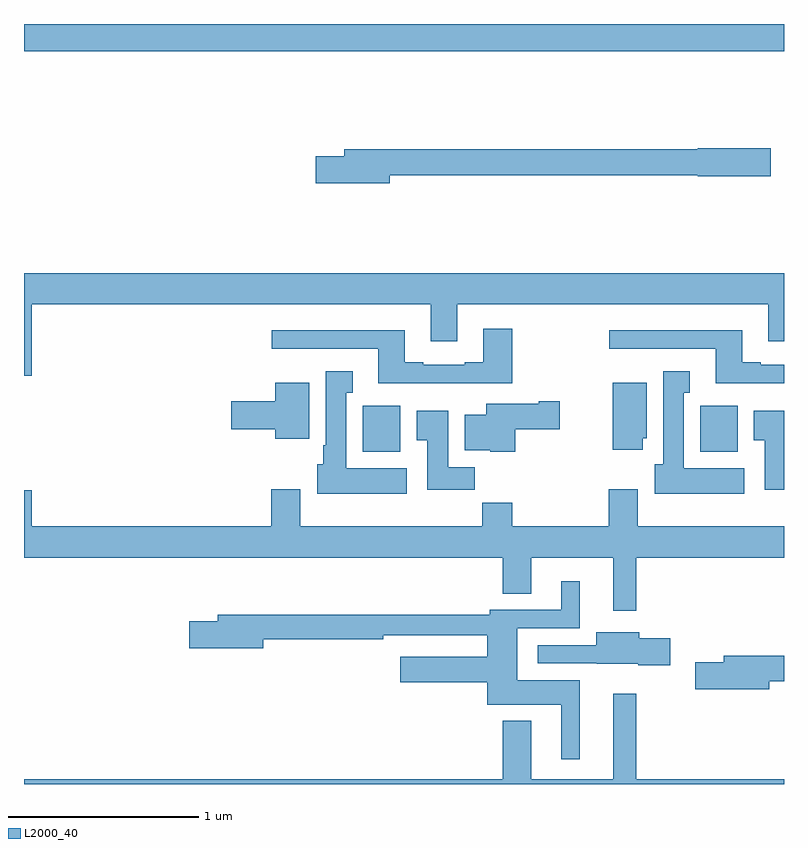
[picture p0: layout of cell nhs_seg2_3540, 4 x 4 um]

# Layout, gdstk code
import gdstk
lib = gdstk.Library(unit=1e-6, precision=1e-09)
def R(c, l, rs):  # rectangles x0, y0, x1, y1
    for r in rs: c.add(gdstk.rectangle(r[:2], r[2:], *l))
def P(c, l, *ps):  # polygons
    for p in ps: c.add(gdstk.Polygon(p, *l))
L2000_40 = (2000, 40)

nhs_seg2_3540 = lib.new_cell('nhs_seg2_3540')
R(nhs_seg2_3540, L2000_40, [(298.784,625.55,298.981,625.792), (300.56,625.55,300.757,625.792), (297,627.656,301,627.8)])
P(nhs_seg2_3540, L2000_40, [(298.924,627.004),(300.546,627.004),(300.546,626.999),(300.931,626.999),(300.931,627.146),(300.546,627.146),(300.546,627.14),(298.685,627.14),(298.685,627.104),(298.536,627.104),(298.536,626.962),(298.924,626.962)],
  [(297,625.95),(297.04,625.95),(297.04,626.324),(299.141,626.324),(299.141,626.13),(299.281,626.13),(299.281,626.324),(300.917,626.324),(300.917,626.13),(301,626.13),(301,626.488),(297,626.488)],
  [(299.57,626.197),(299.417,626.197),(299.417,626.02),(299.321,626.02),(299.321,626.007),(299.101,626.007),(299.101,626.02),(299.005,626.02),(299.005,626.188),(298.305,626.188),(298.305,626.091),(298.865,626.091),(298.865,625.91),(299.57,625.91)],
  [(301,626.007),(300.877,626.007),(300.877,626.02),(300.781,626.02),(300.781,626.188),(300.081,626.188),(300.081,626.091),(300.641,626.091),(300.641,625.91),(301,625.91)],
  [(299.014,625.462),(298.696,625.462),(298.696,625.859),(298.729,625.859),(298.729,625.972),(298.589,625.972),(298.589,625.582),(298.574,625.582),(298.574,625.482),(298.544,625.482),(298.544,625.328),(299.014,625.328)],
  [(300.79,625.462),(300.472,625.462),(300.472,625.859),(300.505,625.859),(300.505,625.972),(300.365,625.972),(300.365,625.482),(300.32,625.482),(300.32,625.328),(300.79,625.328)],
  [(298.501,625.912),(298.322,625.912),(298.322,625.814),(298.092,625.814),(298.092,625.667),(298.322,625.667),(298.322,625.616),(298.501,625.616)],
  [(300.256,625.62),(300.277,625.62),(300.277,625.912),(300.098,625.912),(300.098,625.56),(300.256,625.56)],
  [(299.585,625.667),(299.821,625.667),(299.821,625.814),(299.708,625.814),(299.708,625.801),(299.432,625.801),(299.432,625.744),(299.321,625.744),(299.321,625.556),(299.454,625.556),(299.454,625.55),(299.585,625.55)],
  [(299.372,625.468),(299.233,625.468),(299.233,625.765),(299.066,625.765),(299.066,625.609),(299.123,625.609),(299.123,625.35),(299.372,625.35)],
  [(301,625.765),(300.842,625.765),(300.842,625.609),(300.899,625.609),(300.899,625.35),(301,625.35)],
  [(300.223,624.992),(301,624.992),(301,625.156),(300.229,625.156),(300.229,625.351),(300.077,625.351),(300.077,625.156),(299.57,625.156),(299.57,625.28),(299.413,625.28),(299.413,625.156),(298.453,625.156),(298.453,625.351),(298.301,625.351),(298.301,625.156),(297.04,625.156),(297.04,625.345),(297,625.345),(297,624.992),(299.519,624.992),(299.519,624.802),(299.671,624.802),(299.671,624.992),(300.101,624.992),(300.101,624.711),(300.223,624.711)],
  [(299.926,624.346),(299.596,624.346),(299.596,624.621),(299.926,624.621),(299.926,624.868),(299.828,624.868),(299.828,624.717),(299.45,624.717),(299.45,624.691),(298.019,624.691),(298.019,624.657),(297.87,624.657),(297.87,624.515),(298.258,624.515),(298.258,624.562),(298.892,624.562),(298.892,624.582),(299.438,624.582),(299.438,624.469),(298.98,624.469),(298.98,624.335),(299.438,624.335),(299.438,624.218),(299.828,624.218),(299.828,623.931),(299.926,623.931)],
  [(300.4,624.567),(300.238,624.567),(300.238,624.598),(300.011,624.598),(300.011,624.531),(299.703,624.531),(299.703,624.435),(300.015,624.435),(300.015,624.434),(300.234,624.434),(300.234,624.425),(300.4,624.425)],
  [(300.922,624.34),(301,624.34),(301,624.476),(300.683,624.476),(300.683,624.44),(300.534,624.44),(300.534,624.298),(300.922,624.298)],
  [(300.101,624.274),(300.101,623.824),(299.671,623.824),(299.671,624.133),(299.519,624.133),(299.519,623.824),(297,623.824),(297,623.8),(301,623.8),(301,623.824),(300.223,623.824),(300.223,624.274)])

lib.write_gds('nhs_seg2_3540.gds')
